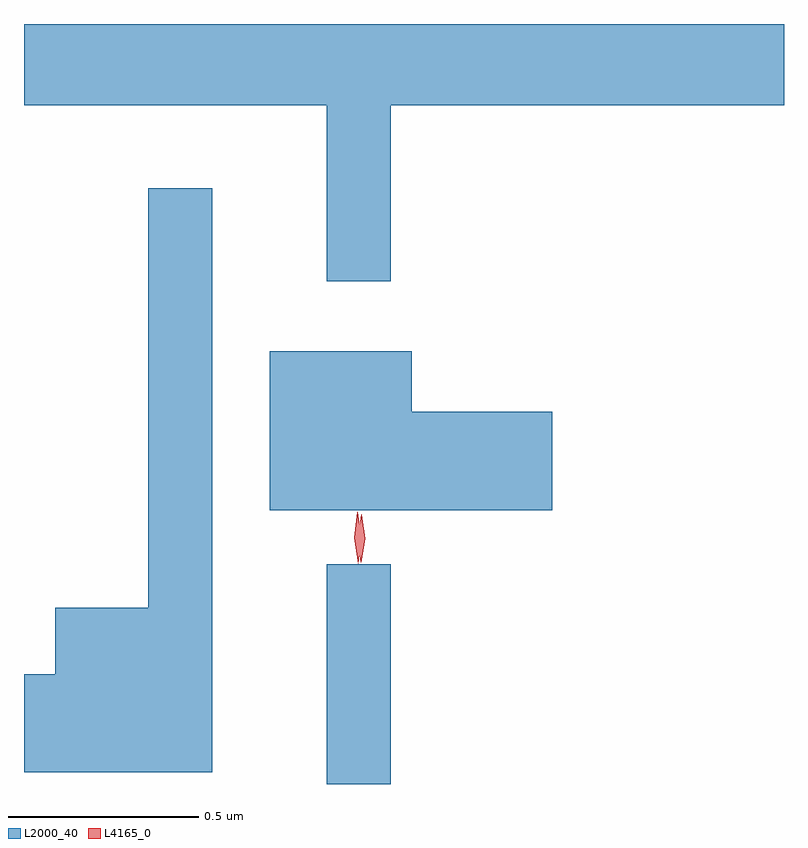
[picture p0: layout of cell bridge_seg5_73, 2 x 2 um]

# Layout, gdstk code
import gdstk
lib = gdstk.Library(unit=1e-6, precision=1e-09)
def R(c, l, rs):  # rectangles x0, y0, x1, y1
    for r in rs: c.add(gdstk.rectangle(r[:2], r[2:], *l))
def P(c, l, *ps):  # polygons
    for p in ps: c.add(gdstk.Polygon(p, *l))
L2000_40 = (2000, 40)
L4165_0 = (4165, 0)

bridge_seg5_73 = lib.new_cell('bridge_seg5_73')
R(bridge_seg5_73, L2000_40, [(1271.251,1466.11,1271.419,1466.688)])
P(bridge_seg5_73, L2000_40, [(1271.419,1467.896),(1272.454,1467.896),(1272.454,1468.11),(1270.454,1468.11),(1270.454,1467.896),(1271.251,1467.896),(1271.251,1467.433),(1271.419,1467.433)],
  [(1270.949,1467.678),(1270.781,1467.678),(1270.781,1466.574),(1270.536,1466.574),(1270.536,1466.399),(1270.454,1466.399),(1270.454,1466.141),(1270.949,1466.141)],
  [(1271.844,1467.089),(1271.474,1467.089),(1271.474,1467.249),(1271.101,1467.249),(1271.101,1466.831),(1271.844,1466.831)])
P(bridge_seg5_73, L4165_0, [(1271.341,1466.693),(1271.34,1466.694),(1271.332,1466.756),(1271.342,1466.819),(1271.343,1466.82),(1271.343,1466.819),(1271.352,1466.756),(1271.341,1466.694)],
  [(1271.333,1466.69),(1271.333,1466.69),(1271.323,1466.758),(1271.331,1466.825),(1271.332,1466.826),(1271.332,1466.825),(1271.342,1466.758),(1271.334,1466.69)])

lib.write_gds('bridge_seg5_73.gds')
